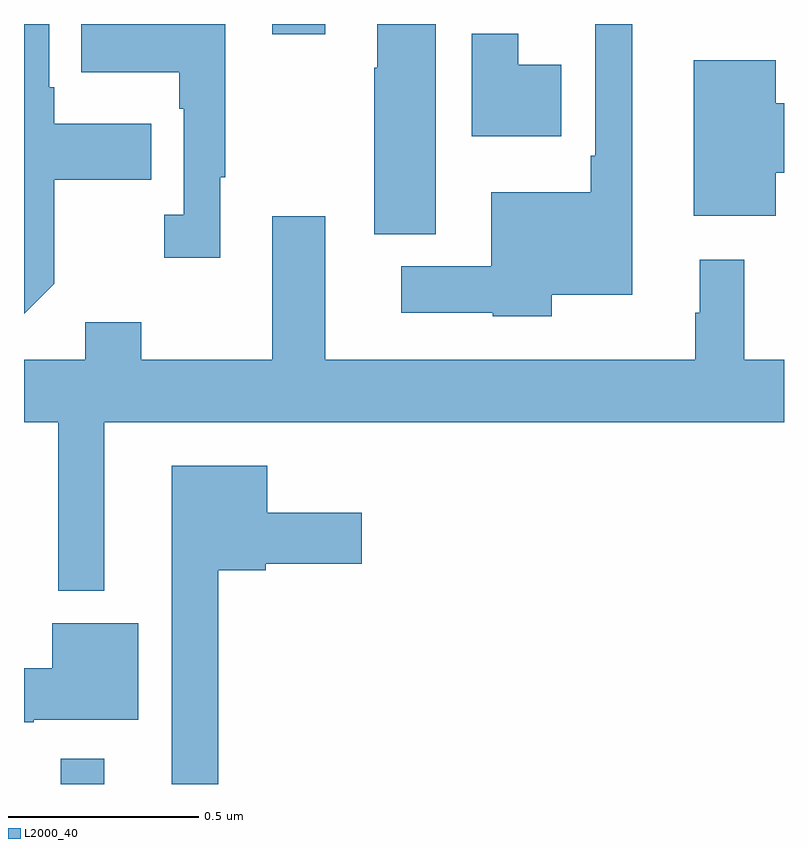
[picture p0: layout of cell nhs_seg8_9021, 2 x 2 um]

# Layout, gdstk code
import gdstk
lib = gdstk.Library(unit=1e-6, precision=1e-09)
def R(c, l, rs):  # rectangles x0, y0, x1, y1
    for r in rs: c.add(gdstk.rectangle(r[:2], r[2:], *l))
def P(c, l, *ps):  # polygons
    for p in ps: c.add(gdstk.Polygon(p, *l))
L2000_40 = (2000, 40)

nhs_seg8_9021 = lib.new_cell('nhs_seg8_9021')
R(nhs_seg8_9021, L2000_40, [(231.097,1096.9,231.211,1096.966), (231.653,1098.873,231.793,1098.9)])
P(nhs_seg8_9021, L2000_40, [(231.517,1098.497),(231.529,1098.497),(231.529,1098.9),(231.151,1098.9),(231.151,1098.773),(231.408,1098.773),(231.408,1098.677),(231.42,1098.677),(231.42,1098.398),(231.369,1098.398),(231.369,1098.285),(231.517,1098.285)],
  [(231.079,1098.217),(231.079,1098.49),(231.335,1098.49),(231.335,1098.637),(231.079,1098.637),(231.079,1098.733),(231.066,1098.733),(231.066,1098.9),(231,1098.9),(231,1098.138)],
  [(232.389,1098.188),(232.6,1098.188),(232.6,1098.9),(232.503,1098.9),(232.503,1098.553),(232.491,1098.553),(232.491,1098.457),(232.229,1098.457),(232.229,1098.262),(231.993,1098.262),(231.993,1098.14),(232.233,1098.14),(232.233,1098.131),(232.389,1098.131)],
  [(232.084,1098.9),(231.929,1098.9),(231.929,1098.785),(231.922,1098.785),(231.922,1098.347),(232.084,1098.347)],
  [(232.414,1098.793),(232.3,1098.793),(232.3,1098.874),(232.178,1098.874),(232.178,1098.605),(232.414,1098.605)],
  [(232.978,1098.509),(233,1098.509),(233,1098.692),(232.978,1098.692),(232.978,1098.805),(232.763,1098.805),(232.763,1098.395),(232.978,1098.395)],
  [(231.211,1097.852),(233,1097.852),(233,1098.016),(232.895,1098.016),(232.895,1098.28),(232.778,1098.28),(232.778,1098.14),(232.767,1098.14),(232.767,1098.016),(231.793,1098.016),(231.793,1098.394),(231.653,1098.394),(231.653,1098.016),(231.309,1098.016),(231.309,1098.115),(231.161,1098.115),(231.161,1098.016),(231,1098.016),(231,1097.852),(231.09,1097.852),(231.09,1097.408),(231.211,1097.408)],
  [(231.511,1097.462),(231.636,1097.462),(231.636,1097.48),(231.889,1097.48),(231.889,1097.614),(231.64,1097.614),(231.64,1097.737),(231.389,1097.737),(231.389,1096.9),(231.511,1096.9)],
  [(231.025,1097.069),(231.301,1097.069),(231.301,1097.323),(231.074,1097.323),(231.074,1097.204),(231,1097.204),(231,1097.062),(231.025,1097.062)])

lib.write_gds('nhs_seg8_9021.gds')
